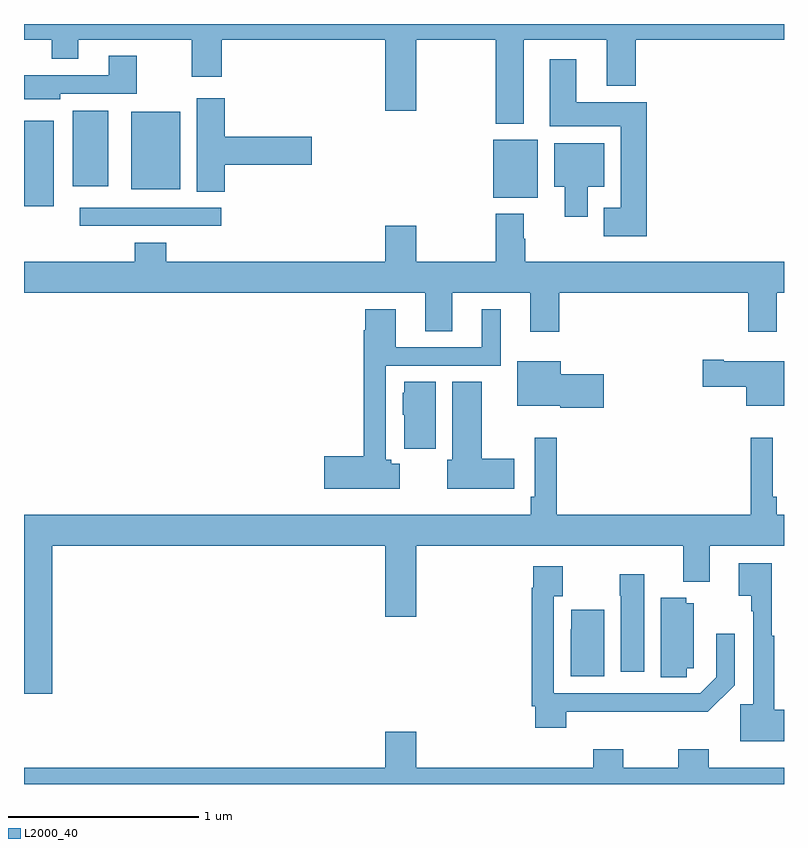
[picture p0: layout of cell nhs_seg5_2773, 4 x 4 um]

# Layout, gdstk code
import gdstk
lib = gdstk.Library(unit=1e-6, precision=1e-09)
def R(c, l, rs):  # rectangles x0, y0, x1, y1
    for r in rs: c.add(gdstk.rectangle(r[:2], r[2:], *l))
def P(c, l, *ps):  # polygons
    for p in ps: c.add(gdstk.Polygon(p, *l))
L2000_40 = (2000, 40)

nhs_seg5_2773 = lib.new_cell('nhs_seg5_2773')
R(nhs_seg5_2773, L2000_40, [(271.293,899.736,272.038,899.832), (271,899.841,271.156,900.289), (273.47,899.885,273.703,900.19), (271.565,899.93,271.822,900.337), (271.256,899.945,271.444,900.343)])
P(nhs_seg5_2773, L2000_40, [(273.631,900.716),(274.067,900.716),(274.067,900.473),(274.22,900.473),(274.22,900.716),(275,900.716),(275,900.799),(271,900.799),(271,900.716),(271.145,900.716),(271.145,900.617),(271.285,900.617),(271.285,900.716),(271.882,900.716),(271.882,900.522),(272.042,900.522),(272.042,900.716),(272.9,900.716),(272.9,900.342),(273.064,900.342),(273.064,900.716),(273.484,900.716),(273.484,900.275),(273.631,900.275)],
  [(271.191,900.432),(271.593,900.432),(271.593,900.631),(271.445,900.631),(271.445,900.528),(271,900.528),(271,900.404),(271.191,900.404)],
  [(274.277,900.388),(273.907,900.388),(273.907,900.613),(273.767,900.613),(273.767,900.26),(274.142,900.26),(274.142,899.833),(274.052,899.833),(274.052,899.681),(274.277,899.681)],
  [(272.057,900.059),(272.515,900.059),(272.515,900.206),(272.057,900.206),(272.057,900.409),(271.91,900.409),(271.91,899.917),(272.057,899.917)],
  [(273.967,899.942),(274.054,899.942),(274.054,900.172),(273.791,900.172),(273.791,899.942),(273.845,899.942),(273.845,899.784),(273.967,899.784)],
  [(273.818,899.384),(274.811,899.384),(274.811,899.178),(274.963,899.178),(274.963,899.384),(275,899.384),(275,899.548),(273.639,899.548),(273.639,899.669),(273.631,899.669),(273.631,899.8),(273.484,899.8),(273.484,899.548),(273.064,899.548),(273.064,899.737),(272.9,899.737),(272.9,899.548),(271.748,899.548),(271.748,899.647),(271.583,899.647),(271.583,899.548),(271,899.548),(271,899.384),(273.113,899.384),(273.113,899.182),(273.253,899.182),(273.253,899.384),(273.665,899.384),(273.665,899.178),(273.818,899.178)],
  [(272.977,898.484),(272.932,898.484),(272.932,898.506),(272.904,898.506),(272.904,899.001),(273.508,899.001),(273.508,899.299),(273.41,899.299),(273.41,899.097),(272.956,899.097),(272.956,899.299),(272.795,899.299),(272.795,899.186),(272.788,899.186),(272.788,898.523),(272.58,898.523),(272.58,898.352),(272.977,898.352)],
  [(275,899.023),(274.684,899.023),(274.684,899.031),(274.572,899.031),(274.572,898.889),(274.802,898.889),(274.802,898.79),(275,898.79)],
  [(274.051,898.956),(273.826,898.956),(273.826,899.023),(273.596,899.023),(273.596,898.79),(273.822,898.79),(273.822,898.778),(274.051,898.778)],
  [(273.166,898.916),(273.002,898.916),(273.002,898.857),(272.993,898.857),(272.993,898.743),(273.002,898.743),(273.002,898.563),(273.166,898.563)],
  [(273.58,898.51),(273.409,898.51),(273.409,898.916),(273.254,898.916),(273.254,898.506),(273.227,898.506),(273.227,898.352),(273.58,898.352)],
  [(271,897.273),(271.148,897.273),(271.148,898.052),(272.9,898.052),(272.9,897.678),(273.064,897.678),(273.064,898.052),(274.469,898.052),(274.469,897.863),(274.609,897.863),(274.609,898.052),(275,898.052),(275,898.216),(274.961,898.216),(274.961,898.312),(274.941,898.312),(274.941,898.621),(274.825,898.621),(274.825,898.216),(273.803,898.216),(273.803,898.621),(273.687,898.621),(273.687,898.312),(273.667,898.312),(273.667,898.216),(271,898.216)],
  [(275,897.189),(274.948,897.189),(274.948,897.578),(274.935,897.578),(274.935,897.961),(274.761,897.961),(274.761,897.791),(274.827,897.791),(274.827,897.707),(274.839,897.707),(274.839,897.219),(274.77,897.219),(274.77,897.023),(275,897.023)],
  [(273.853,897.179),(274.599,897.179),(274.74,897.32),(274.74,897.589),(274.644,897.589),(274.644,897.36),(274.56,897.276),(273.789,897.276),(273.789,897.786),(273.835,897.786),(273.835,897.946),(273.681,897.946),(273.681,897.833),(273.673,897.833),(273.673,897.208),(273.692,897.208),(273.692,897.096),(273.853,897.096)],
  [(274.264,897.904),(274.135,897.904),(274.135,897.791),(274.142,897.791),(274.142,897.39),(274.264,897.39)],
  [(274.488,897.408),(274.525,897.408),(274.525,897.751),(274.485,897.751),(274.485,897.778),(274.352,897.778),(274.352,897.361),(274.488,897.361)],
  [(274.054,897.717),(273.879,897.717),(273.879,897.614),(273.878,897.614),(273.878,897.365),(274.054,897.365)],
  [(275,896.884),(274.604,896.884),(274.604,896.983),(274.444,896.983),(274.444,896.884),(274.155,896.884),(274.155,896.983),(273.995,896.983),(273.995,896.884),(273.064,896.884),(273.064,897.073),(272.9,897.073),(272.9,896.884),(271,896.884),(271,896.799),(275,896.799)])

lib.write_gds('nhs_seg5_2773.gds')
